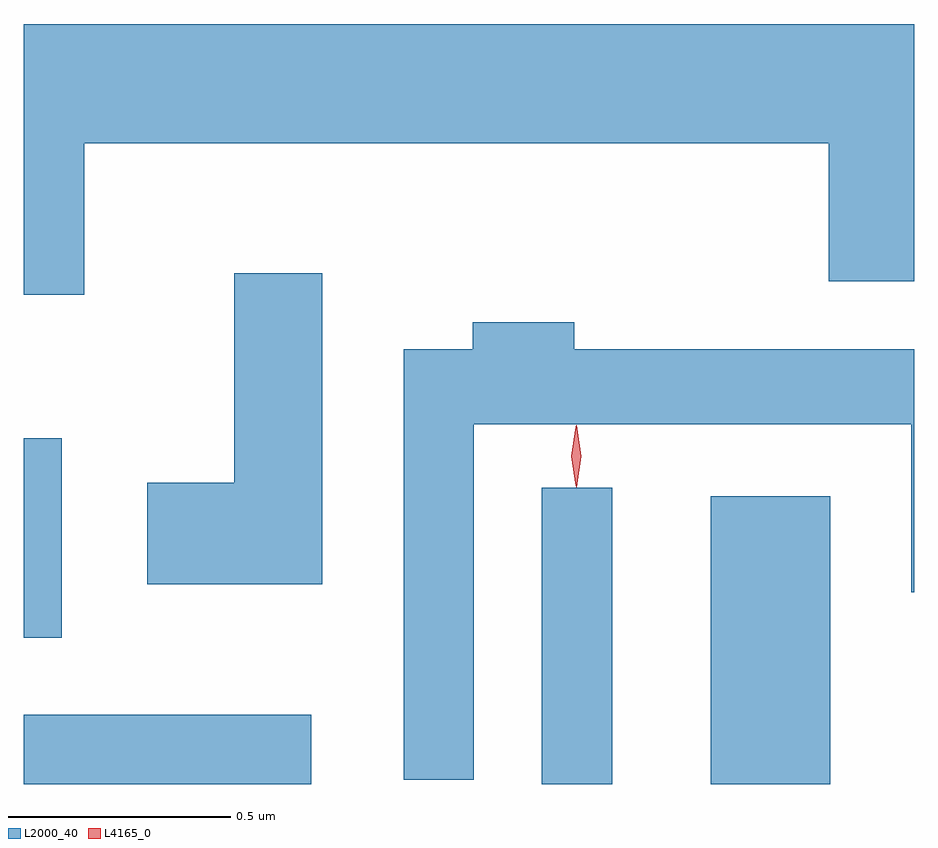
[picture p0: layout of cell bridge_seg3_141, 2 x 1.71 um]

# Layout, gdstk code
import gdstk
lib = gdstk.Library(unit=1e-6, precision=1e-09)
def R(c, l, rs):  # rectangles x0, y0, x1, y1
    for r in rs: c.add(gdstk.rectangle(r[:2], r[2:], *l))
def P(c, l, *ps):  # polygons
    for p in ps: c.add(gdstk.Polygon(p, *l))
L2000_40 = (2000, 40)
L4165_0 = (4165, 0)

bridge_seg3_141 = lib.new_cell('bridge_seg3_141')
R(bridge_seg3_141, L2000_40, [(891.183,1240.018,891.829,1240.174), (892.346,1240.018,892.504,1240.683), (892.726,1240.018,892.994,1240.664), (891.183,1240.346,891.269,1240.794)])
P(bridge_seg3_141, L2000_40, [(891.319,1241.456),(892.991,1241.456),(892.991,1241.146),(893.183,1241.146),(893.183,1241.724),(891.183,1241.724),(891.183,1241.116),(891.319,1241.116)],
  [(891.854,1241.164),(891.656,1241.164),(891.656,1240.694),(891.461,1240.694),(891.461,1240.466),(891.854,1240.466)],
  [(892.194,1240.826),(893.176,1240.826),(893.176,1240.448),(893.183,1240.448),(893.183,1240.994),(892.419,1240.994),(892.419,1241.054),(892.191,1241.054),(892.191,1240.994),(892.036,1240.994),(892.036,1240.028),(892.194,1240.028)])
P(bridge_seg3_141, L4165_0, [(892.423,1240.687),(892.423,1240.687),(892.413,1240.754),(892.423,1240.82),(892.423,1240.821),(892.424,1240.82),(892.433,1240.754),(892.424,1240.687)],
  [(892.424,1240.684),(892.415,1240.754),(892.424,1240.823),(892.425,1240.823),(892.425,1240.823),(892.435,1240.754),(892.425,1240.684),(892.425,1240.684)])

lib.write_gds('bridge_seg3_141.gds')
